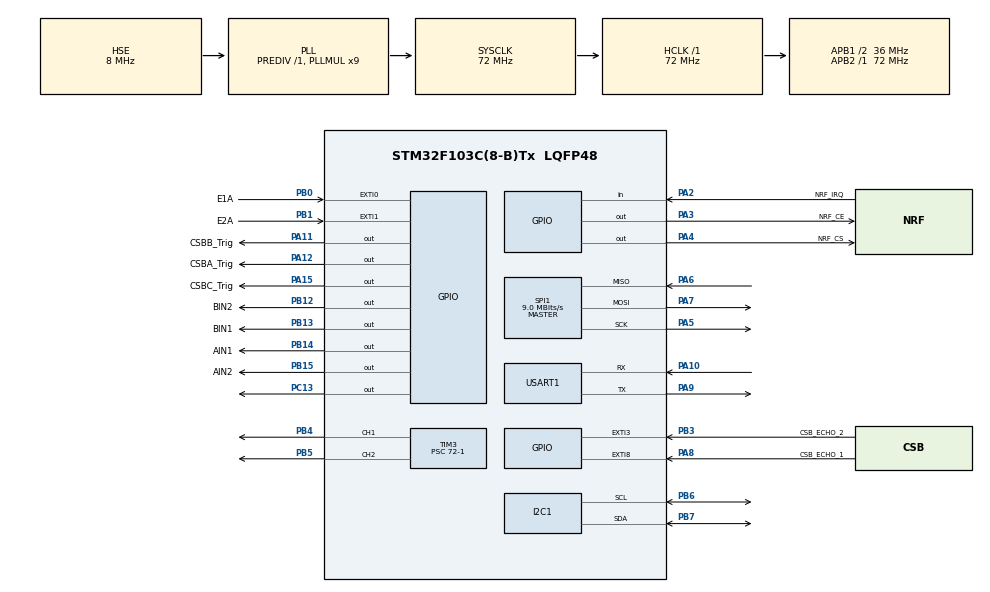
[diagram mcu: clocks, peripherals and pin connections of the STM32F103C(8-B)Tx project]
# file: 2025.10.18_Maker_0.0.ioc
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I2C1.I2C_Mode=I2C_Fast
Mcu.Family=STM32F1
Mcu.Name=STM32F103C(8-B)Tx
Mcu.Package=LQFP48
NVIC.EXTI0_IRQn=true\:0\:0\:false\:false\:true\:true\:true\:true
NVIC.EXTI1_IRQn=true\:0\:0\:false\:false\:true\:true\:true\:true
NVIC.EXTI3_IRQn=true\:0\:0\:false\:false\:true\:true\:true\:true
NVIC.EXTI9_5_IRQn=true\:0\:0\:false\:false\:true\:true\:true\:true
NVIC.PriorityGroup=NVIC_PRIORITYGROUP_4
NVIC.TIM3_IRQn=true\:0\:0\:false\:false\:true\:true\:true\:true
NVIC.USART1_IRQn=true\:0\:0\:false\:false\:true\:true\:true\:true
PA10.Mode=Asynchronous
PA10.Signal=USART1_RX
PA11.GPIO_Label=CSBB_Trig
PA11.Signal=GPIO_Output
PA12.GPIO_Label=CSBA_Trig
PA12.Signal=GPIO_Output
PA13.Mode=Serial_Wire
PA13.Signal=SYS_JTMS-SWDIO
PA14.Mode=Serial_Wire
PA14.Signal=SYS_JTCK-SWCLK
PA15.GPIO_Label=CSBC_Trig
PA15.Signal=GPIO_Output
PA2.GPIO_Label=NRF_IRQ
PA2.GPIO_PuPd=GPIO_PULLUP
PA2.Signal=GPIO_Input
PA3.GPIO_Label=NRF_CE
PA3.GPIO_PuPd=GPIO_PULLUP
PA3.GPIO_Speed=GPIO_SPEED_FREQ_HIGH
PA3.Signal=GPIO_Output
PA4.GPIO_Label=NRF_CS
PA4.GPIO_PuPd=GPIO_PULLUP
PA4.GPIO_Speed=GPIO_SPEED_FREQ_HIGH
PA4.Signal=GPIO_Output
PA5.Mode=Full_Duplex_Master
PA5.Signal=SPI1_SCK
PA6.Mode=Full_Duplex_Master
PA6.Signal=SPI1_MISO
PA7.Mode=Full_Duplex_Master
PA7.Signal=SPI1_MOSI
PA8.GPIO_Label=CSB_ECHO_1
PA8.GPIO_ModeDefaultEXTI=GPIO_MODE_IT_RISING
PA8.GPIO_PuPd=GPIO_PULLDOWN
PA8.Signal=GPXTI8
PA9.Mode=Asynchronous
PA9.Signal=USART1_TX
PB0.GPIO_Label=E1A
PB0.GPIO_ModeDefaultEXTI=GPIO_MODE_IT_RISING
PB0.GPIO_PuPd=GPIO_PULLDOWN
PB0.Signal=GPXTI0
PB1.GPIO_Label=E2A
PB1.GPIO_PuPd=GPIO_PULLDOWN
PB1.Signal=GPXTI1
PB12.GPIO_Label=BIN2
PB12.Signal=GPIO_Output
PB13.GPIO_Label=BIN1
PB13.Signal=GPIO_Output
PB14.GPIO_Label=AIN1
PB14.Signal=GPIO_Output
PB15.GPIO_Label=AIN2
PB15.Signal=GPIO_Output
PB3.GPIO_Label=CSB_ECHO_2
PB3.GPIO_ModeDefaultEXTI=GPIO_MODE_IT_FALLING
PB3.Signal=GPXTI3
PB4.Signal=S_TIM3_CH1
PB5.Signal=S_TIM3_CH2
PB6.Mode=I2C
PB6.Signal=I2C1_SCL
PB7.Mode=I2C
PB7.Signal=I2C1_SDA
PC13-TAMPER-RTC.Signal=GPIO_Output
PC14-OSC32_IN.Mode=LSE-External-Oscillator
PC14-OSC32_IN.Signal=RCC_OSC32_IN
PC15-OSC32_OUT.Mode=LSE-External-Oscillator
PC15-OSC32_OUT.Signal=RCC_OSC32_OUT
PD0-OSC_IN.Mode=HSE-External-Oscillator
PD0-OSC_IN.Signal=RCC_OSC_IN
PD1-OSC_OUT.Mode=HSE-External-Oscillator
PD1-OSC_OUT.Signal=RCC_OSC_OUT
ProjectManager.HeapSize=0x200
ProjectManager.StackSize=0x400
ProjectManager.TargetToolchain=CMake
RCC.AHBFreq_Value=72000000
RCC.APB1CLKDivider=RCC_HCLK_DIV2
RCC.APB1Freq_Value=36000000
RCC.APB1TimFreq_Value=72000000
RCC.APB2Freq_Value=72000000
RCC.APB2TimFreq_Value=72000000
RCC.HCLKFreq_Value=72000000
RCC.PLLMUL=RCC_PLL_MUL9
RCC.PLLSourceVirtual=RCC_PLLSOURCE_HSE
RCC.SYSCLKFreq_VALUE=72000000
RCC.SYSCLKSource=RCC_SYSCLKSOURCE_PLLCLK
RCC.USBFreq_Value=72000000
SH.S_TIM3_CH1.0=TIM3_CH1,PWM Generation1 CH1
SH.S_TIM3_CH2.0=TIM3_CH2,PWM Generation2 CH2
SPI1.BaudRatePrescaler=SPI_BAUDRATEPRESCALER_8
SPI1.CalculateBaudRate=9.0 MBits/s
SPI1.Direction=SPI_DIRECTION_2LINES
SPI1.Mode=SPI_MODE_MASTER
SPI1.VirtualType=VM_MASTER
TIM2.Period=65535
TIM2.Prescaler=7200-1
TIM3.Channel-PWM\ Generation1\ CH1=TIM_CHANNEL_1
TIM3.Channel-PWM\ Generation2\ CH2=TIM_CHANNEL_2
TIM3.Period=1000-1
TIM3.Prescaler=72-1
USART1.VirtualMode=VM_ASYNC
VP_TIM1_VS_ClockSourceINT.Mode=Internal
VP_TIM2_VS_ClockSourceINT.Mode=Internal
VP_TIM3_VS_ClockSourceINT.Mode=Internal
board=custom

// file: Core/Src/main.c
/* USER CODE BEGIN Header */
/**
 ******************************************************************************
 * @file           : main.c
 * @brief          : Main program body
 ******************************************************************************
 * @attention
 *
 * Copyright (c) 2025 STMicroelectronics.
 * All rights reserved.
 *
 * This software is licensed under terms that can be found in the LICENSE file
 * in the root directory of this software component.
 * If no LICENSE file comes with this software, it is provided AS-IS.
 *
 ******************************************************************************
 未完善的部分 电机转动方向
 */
/* USER CODE END Header */
#include "main.h"
#include "font.h"
#include "i2c.h"
#include "spi.h"
#include "tim.h"
#include "usart.h"
#include "gpio.h"

/* USER CODE BEGIN Includes */
#include <stdint.h>
#include <string.h>
#include <stdio.h>
#include <stdlib.h>
#include <stdbool.h>
#include <sys/_intsup.h>

#include "oled.h"
#include "NRF24L01.h"
#include <inttypes.h>// 豆包来的PRId32 等宏定义
/* USER CODE END Includes */

/* USER CODE BEGIN PV */

void CSB_while_Delay(void);// 超声波测距延时函数

#define CSB_MIN_Dat 60  // 超声波跟随状态最小距离(cm)
#define CSB_MIN_MIN_Dat 35 // 超声波短距离跟随状态最小距离(cm)

// 电机 PID 参数
#define Motor_KP 3
#define Motor_KI 0
#define Motor_KD 0

//K230跟随模式参数---------------------------------------------------------
#define screenCenterX 320//屏幕中心x 坐标
#define screenCenterY 240//屏幕中心y 坐标
#define maxUnresponsiveCoordDiff 80//最大无响应坐标差值
#define targetSpeedValue 200 // 目标速度值
#define turnSpeedDiffCoeff 1 // 转弯时速度差值系数

//#define slowdownValueWhenNoPersonDetected 100 // 未检测到人时减速值
#define circlingSpeed 100 // 原地转圈速度差值

//无线遥控模式参数---------------------------------------------------------
#define N_targetSpeedValue 200 // 目标速度值
#define N_turnSpeedDiff 75 // 转弯时速度差

uint8_t NRF_MODS = 0;//无线遥控模式 0 停止,1遥控跟随,2摄像头跟随
unsigned int Joystick__XDat = 0;
unsigned int Joystick__YDat = 0;

/* CSB CODE Start */

char CSB_MOS;                // 哪个超声波正在工作 1：A, 2：B, 3: C,

unsigned int CSB_Time_ms_Start;// 超声波计时开始
unsigned int CSB_Time_ms_End;// 超声波计时开始

unsigned int CSB_A_Time_Dat; // 超声波计时间数据
unsigned int CSB_B_Time_Dat; // 超声波计时间数据
unsigned int CSB_C_Time_Dat; // 超声波计时间数据

unsigned int CSB_A_Dis_Dat; // 超声波距离数据 单位 cm

/* CSB CODE END */

/* Encoder CODE Start */
unsigned int Encoder_Start_Time;
unsigned int Encoder_1;     // 编码器1计数
unsigned int Encoder_2;     // 编码器2计数
unsigned int Encoder_1_Dat; // 编码器1计数,20ms刷新一次
unsigned int Encoder_2_Dat; // 编码器2计数,20ms刷新一次
/* Encoder CODE END */

unsigned int Time_1ms; // 毫秒计时器
uint32_t Time_1s; // 秒计时器 溢出需要 1193046.47 小时

unsigned int Delay_Time_ms_Start;//延时计算开始时间
unsigned int Delay_Time_s_Start;//延时计算开始时间
unsigned int Delay_Time_ms_End;//延时计算结束时间

unsigned int Delay_Time_ms_Start;//延时计算开始时间
unsigned int Delay_Time_s_Start;//延时计算开始时间

unsigned int Tim2_Time_Start;//开始时间
unsigned int Tim2_Time_End;//结束时间

bool follow_flag = 0; // 跟随标志位 =1 时开始跟随
bool Short_follow_flagshort = 0;// 短距离跟随标志位 =1 时开始短距离跟随
bool neverDetectedHuman_flag = 1; // 从未检测到人 标志位
unsigned int notRecognized_Start_Time_1s = 0; // 未识别到人计时开始时间

uint8_t	Receive[17]; //NRF24L01接收的内容
uint16_t NRF24L01_Dat; //NRF24L01接收的数据（直接转换为整数）

//UART参数---------------------------------------------------------
#define RX_BUF_SIZE 128 //串口接收缓冲区大小
uint8_t rx_buf[1];  // 中断接收的单字节缓冲区
uint8_t uart_rx_str[RX_BUF_SIZE] = {0};  // 拼接后的完整字符串
uint16_t uart_rx_len = 0;     // 当前接收的字符串长度

bool person = 0;// 是否检测到人

uint16_t person_NODat = 0;// 是否检测到人累积次数
#define person_NODat_MAX 20 //检测不到人的退出次数

uint16_t PWM_1,PWM_2;//PWM 监测值

unsigned int Coords_1_X = 0; // 目标1X坐标
unsigned int Coords_1_Y = 0; // 目标1Y坐标
unsigned int Coords_2_X = 0; // 目标2X坐标
unsigned int Coords_2_Y = 0; // 目标2Y坐标
unsigned int Coords_3_X = 0; // 目标3X坐标
unsigned int Coords_3_Y = 0; // 目标3Y坐标

/*UART CODE END */

/* USER CODE END PV */

void SystemClock_Config(void);

/* USER CODE BEGIN 0 */

// 电机方向驱动，未验证方向
//Motor : 电机编号 1 或 2
//Motor_MOD : 电机转动模式 1 正转 2 反转
void Motor(uint8_t Motor,uint8_t Motor_MOD)
{
  if(Motor == 1)// 电机1
  {
    if(Motor_MOD == 1)// 正转
    {
      HAL_GPIO_WritePin(AIN1_GPIO_Port, AIN1_Pin, GPIO_PIN_SET);
      HAL_GPIO_WritePin(AIN2_GPIO_Port, AIN2_Pin, GPIO_PIN_RESET);
    }
    else if(Motor_MOD == 2)// 反转
    {
      HAL_GPIO_WritePin(AIN1_GPIO_Port, AIN1_Pin, GPIO_PIN_RESET);
      HAL_GPIO_WritePin(AIN2_GPIO_Port, AIN2_Pin, GPIO_PIN_SET);
    }
  }
  else if(Motor == 2)// 电机2
  {
    if(Motor_MOD == 1)// 正转
    {
      HAL_GPIO_WritePin(BIN1_GPIO_Port, BIN1_Pin, GPIO_PIN_RESET);
      HAL_GPIO_WritePin(BIN2_GPIO_Port, BIN2_Pin, GPIO_PIN_SET);
    }
    else if(Motor_MOD == 2)// 反转
    {
      HAL_GPIO_WritePin(BIN1_GPIO_Port, BIN1_Pin, GPIO_PIN_SET);
      HAL_GPIO_WritePin(BIN2_GPIO_Port, BIN2_Pin, GPIO_PIN_RESET);
    }
  }
}

// 电机 PWM 控制，Cycle 范围 0-1000(0为0%占空比，1000为100%占空比)
//Motor : 电机编号 1 或 2
//Cycle : 占空比 0-1000
void Motor_PWM(uint8_t Motor,int16_t Cycle)
{
  if(Cycle > 1000)
  {
    Cycle = 1000; // 限制最大值为1000
  }
  if(Cycle < 0)
  {
    Cycle = 0; // 限制最小值为0
  }
  if(Motor == 1)// 电机1
  {
    PWM_1 = Cycle;
    __HAL_TIM_SET_COMPARE(&htim3,TIM_CHANNEL_1,Cycle); // 设置占空比
  }
  else if(Motor == 2)// 电机2
  {
    PWM_2 = Cycle;
    __HAL_TIM_SET_COMPARE(&htim3,TIM_CHANNEL_2,Cycle); // 设置占空比
  }
}

// 电机 PID 控制 返回占空比值
//Target_value : 目标值
//Actual_value : 实际值
uint16_t Motor_PID(uint16_t Target_value,uint16_t Actual_value)
{
  int16_t Error;
  Error = Target_value - Actual_value;
  if(Error < 0)
  {
    Error = 0;
  }
  return Error * Motor_KP; // 简单比例控制
}

//摄像头跟随 包含了跟随到人和没跟随到人两种情况
void Motor_K230_follow(void)
{
  Motor(1,1); // 电机1正转
  Motor(2,1); // 电机2正转
  if(person == 0)//如果没有识别到人 停止
  {
    Motor_PWM(1,0); // 电机1 占空比
    Motor_PWM(2,0); // 电机2 占空比
    return;
  }
  if(CSB_A_Dis_Dat < 15)//距离过近
  {
    Motor_PWM(1,0); // 电机1 占空比
    Motor_PWM(2,0); // 电机2 占空比
    return;
  }
  if(screenCenterX < Coords_1_X )//在右侧
  {
    if((Coords_1_X - screenCenterX) < maxUnresponsiveCoordDiff)//在中心区域
    {
      Motor_PWM(1,Motor_PID(targetSpeedValue,Encoder_1_Dat)); // 电机1 占空比
      Motor_PWM(2,Motor_PID(targetSpeedValue,Encoder_2_Dat)); // 电机2 占空比
      return;
    }
  }
  else if(Coords_1_X < screenCenterX)//在左侧
  {
    if((screenCenterX - Coords_1_X) < maxUnresponsiveCoordDiff)//在中心区域
    {
      Motor_PWM(1,Motor_PID(targetSpeedValue,Encoder_1_Dat)); // 电机1 占空比
      Motor_PWM(2,Motor_PID(targetSpeedValue,Encoder_2_Dat)); // 电机2 占空比
      return;
    }
  }

  if(Coords_1_X < screenCenterX)// 目标在左侧 (screenCenterX-Coords_1_X)误差值,人离镜头中心越远值越大
  {
    //差值计算公式 = 目标速度-(误差值*系数)
    Motor_PWM(1,Motor_PID(targetSpeedValue - (screenCenterX - Coords_1_X)*turnSpeedDiffCoeff + maxUnresponsiveCoordDiff,Encoder_1_Dat)); // 电机1 占空比
    Motor_PWM(2,Motor_PID(targetSpeedValue,Encoder_2_Dat)); // 电机2 占空比
  }
  else if(screenCenterX < Coords_1_X)// 目标在右侧
  {
    Motor_PWM(1,Motor_PID(targetSpeedValue,Encoder_1_Dat)); // 电机1 占空比
    Motor_PWM(2,Motor_PID(targetSpeedValue - (Coords_1_X - screenCenterX)*turnSpeedDiffCoeff + maxUnresponsiveCoordDiff,Encoder_2_Dat)); // 电机2 占空比
  }

}

//无线遥控跟随
void Motor_NRF24L01_follow(void)
{
  //Joystick__XDat,Joystick__YDat  0 到 4095
  uint8_t Xmod,Ymod;
  if(Joystick__XDat > 4000)
  {
    Xmod = 2;//左
  }
  else if(Joystick__XDat < 20)
  {
    Xmod = 1;//右
  }
  else {
  {
    Xmod = 0;//中
  }
  }
  if(Joystick__YDat > 4000)
  {
    Ymod = 1;//下
  }
  else if(Joystick__YDat < 20)
  {
    Ymod = 2;//上
  }
  else {
  {
    Ymod = 0;//中
  }
  }
  if(Ymod == 0 && Xmod == 0)// 停止
  {
    Motor_PWM(1,0); // 电机1 占空比
    Motor_PWM(2,0); // 电机2 占空比
    return;
  }
  switch(Ymod)//设置了方向
  {
    case 2://前进
      Motor(1,1); // 电机1正转
      Motor(2,1); // 电机2正转
    break;
    case 1://后退
      Motor(1,2); // 电机1反转
      Motor(2,2); // 电机2反转
    break;
  }
  switch(Xmod)//设置了速度
  {
    case 1://左转
      if(Ymod == 0)// 停止状态下左转
      {
        Motor(1,2); // 电机1反转
        Motor(2,1); // 电机2正转
        Motor_PWM(1,Motor_PID(N_targetSpeedValue,Encoder_1_Dat)); // 电机1 占空比
        Motor_PWM(2,Motor_PID(N_targetSpeedValue,Encoder_2_Dat)); // 电机2 占空比
        return;
      }
      Motor_PWM(1,Motor_PID(N_targetSpeedValue-N_turnSpeedDiff,Encoder_1_Dat)); // 电机1 占空比
      Motor_PWM(2,Motor_PID(N_targetSpeedValue,Encoder_2_Dat)); // 电机2 占空比
    break;
    case 2://右转
      if(Ymod == 0)// 停止状态下右转
      {
        Motor(1,1); // 电机1正转
        Motor(2,2); // 电机2反转
        Motor_PWM(1,Motor_PID(N_targetSpeedValue,Encoder_1_Dat)); // 电机1 占空比
        Motor_PWM(2,Motor_PID(N_targetSpeedValue,Encoder_2_Dat)); // 电机2 占空比
        return;
      }
      Motor_PWM(1,Motor_PID(N_targetSpeedValue,Encoder_1_Dat)); // 电机1 占空比
      Motor_PWM(2,Motor_PID(N_targetSpeedValue-N_turnSpeedDiff,Encoder_2_Dat)); // 电机2 占空比
    break;
    default://直行
      Motor_PWM(1,Motor_PID(N_targetSpeedValue,Encoder_1_Dat)); // 电机1 占空比
      Motor_PWM(2,Motor_PID(N_targetSpeedValue,Encoder_2_Dat)); // 电机2 占空比
    break;
  }
}
//原地转圈
void Motor_turnInPlace(void)
{
  if(screenCenterX - Coords_1_X < maxUnresponsiveCoordDiff ||
     Coords_1_X - screenCenterX < maxUnresponsiveCoordDiff)// 目标X坐标在屏幕中心附近
  {
    return; //不转圈
  }
  else if(screenCenterX > Coords_1_X)// 目标在右侧
  {
    Motor(1,1); // 电机1正转
    Motor(2,2); // 电机2反转
  }
  else if(screenCenterX < Coords_1_X)// 目标在左侧
  {
    Motor(1,2); // 电机1反转
    Motor(2,1); // 电机2正转
  }
  Motor_PWM(1,circlingSpeed - circlingSpeed); // 电机1 占空比
  Motor_PWM(2,circlingSpeed - circlingSpeed); // 电机2 占空比
}

//电机控制
void Motor_while(void)
{
  switch(NRF_MODS)
  {
    case 0 :
      Motor_PWM(1,0); // 电机1 占空比
      Motor_PWM(2,0); // 电机2 占空比
    break;
    case 1 ://摄像头跟随
      Motor_K230_follow(); // 执行摄像头跟随
    break;
    case 2 ://无线遥控
      Motor_NRF24L01_follow(); // 执行无线遥控跟随
    break;
  }
}

// 微秒延时函数
void Delay_us(uint32_t us)
{
  uint32_t i;
  // 循环次数 = 72 * 延时微秒数（经验值，需根据实际代码效率调整）
  uint32_t loops = 72 * us;
  for (i = 0; i < loops; i++)
  {
    __NOP(); // 空指令，消耗一个CPU周期（不同编译器可能需替换为对应空操作）
  }
}

// 超声波测距函数
void CSB_while(void)
{
  CSB_MOS = 1;
  HAL_GPIO_WritePin(CSBA_Trig_GPIO_Port, CSBA_Trig_Pin, GPIO_PIN_SET);
  Delay_us(20);
  HAL_GPIO_WritePin(CSBA_Trig_GPIO_Port, CSBA_Trig_Pin, GPIO_PIN_RESET);
}

// 编码器数据刷新函数
void Encoder_while(void)
{
  if(Time_1ms % 20 == 0) // 每20ms读取一次编码器数据
  {
    Encoder_1_Dat = Encoder_1;
    Encoder_2_Dat = Encoder_2;
    Encoder_1 = 0;
    Encoder_2 = 0;
  }
}

//OLED 显示
void OLED_while(void)
{

  char buffer_1[48],buffer_2[30],buffer_3[30],buffer_4[30],buffer_5[30],buffer_6[30];
  int OLED_MODS = 5;
  if(OLED_MODS == 1) // OLED 显示坐标
  {
   OLED_NewFrame();
   sprintf(buffer_1, "1X: %d", Coords_1_X);
   sprintf(buffer_2, "1Y: %d", Coords_1_Y);
   OLED_PrintString(1,1,buffer_1,&font16x16, OLED_COLOR_NORMAL);
   OLED_PrintString(60,1,buffer_2,&font16x16, OLED_COLOR_NORMAL);
   OLED_ShowFrame();
  }
  else if(OLED_MODS == 2)// OLED 显示串口
  {
    char buffer_5[20];
    OLED_NewFrame();
    sprintf(buffer_5, "%d", rx_buf[0]);
    OLED_PrintString(1,1,buffer_5,&font16x16, OLED_COLOR_NORMAL);
    OLED_ShowFrame();
  }
  else if(OLED_MODS == 3)// OLED 显示超声波数据超声波
  {
    OLED_NewFrame();
    sprintf(buffer_1, "A: %d", CSB_A_Time_Dat);
    sprintf(buffer_2, "B: %d", CSB_B_Time_Dat);
    sprintf(buffer_3, "C: %d", CSB_C_Time_Dat);
    sprintf(buffer_4, "CSB_MOS: %d", CSB_MOS);
    sprintf(buffer_5, "ms_Start: %d", CSB_Time_ms_Start);
    sprintf(buffer_6, "ms_End: %d",CSB_Time_ms_End);
    OLED_PrintString(1,1,buffer_1,&font16x16, OLED_COLOR_NORMAL);
    OLED_PrintString(1,20,buffer_2,&font16x16, OLED_COLOR_NORMAL);
    OLED_PrintString(1,40,buffer_3,&font16x16, OLED_COLOR_NORMAL);
    OLED_PrintString(40,1,buffer_4,&font16x16, OLED_COLOR_NORMAL);
    OLED_PrintString(40,20,buffer_5,&font16x16, OLED_COLOR_NORMAL);
    OLED_PrintString(40,40,buffer_6,&font16x16, OLED_COLOR_NORMAL);
    OLED_ShowFrame();
  }
  else if(OLED_MODS == 4)// OLED 显示
  {
    OLED_NewFrame();
    sprintf(buffer_4, "A: %d", CSB_A_Time_Dat);
    sprintf(buffer_5, "Time_End: %d", Tim2_Time_End);
    sprintf(buffer_6, "ms_End: %d",CSB_Time_ms_End);
    //OLED_PrintString(1,1,buffer_4,&font16x16, OLED_COLOR_NORMAL);
    OLED_PrintString(1,20,buffer_5,&font16x16, OLED_COLOR_NORMAL);
    //OLED_PrintString(1,40,buffer_6,&font16x16, OLED_COLOR_NORMAL);
    OLED_ShowFrame();

  }
  else if(OLED_MODS == 5)// OLED 显示
  {
    OLED_NewFrame();
    sprintf(buffer_1, "K230 X:%d Y:%d", Coords_1_X, Coords_1_Y);
    sprintf(buffer_2, "cm:%d E1:%d E2:%d",CSB_A_Dis_Dat,Encoder_1_Dat,Encoder_2_Dat);
    sprintf(buffer_3, "NRF:%d,X:%d,Y:%d",NRF_MODS,Joystick__XDat,Joystick__YDat);
    sprintf(buffer_4, "PWM1:%d,PWM2:%d",PWM_1,PWM_2);
    OLED_PrintASCIIString(1,1,buffer_1,&afont8x6, OLED_COLOR_NORMAL);
    OLED_PrintASCIIString(1,10,buffer_2,&afont8x6, OLED_COLOR_NORMAL);
    OLED_PrintASCIIString(1,20,buffer_3,&afont8x6, OLED_COLOR_NORMAL);
    OLED_PrintASCIIString(1,30,buffer_4,&afont8x6, OLED_COLOR_NORMAL);
    OLED_ShowFrame();
  }
}

//串口数据解析
void UART_Parse(void)
{
  if(rx_buf[0] == 'n')
  {
    person = 0; // 未检测到人
  }

  if(rx_buf[0] == ']' && uart_rx_len > 0)// 接收到一帧数据
  {
    person = 1; // 检测到人
    person_NODat = 0; //清空检测次数
    if(uart_rx_str[0] == '[')// 检查帧头
    {
      // 临时缓冲区用于处理字符串(将uart_rx_str 复制到 temp_buf)
      char temp_buf[RX_BUF_SIZE];
      strncpy(temp_buf, (char*)uart_rx_str, uart_rx_len);
      temp_buf[uart_rx_len] = '\0'; // 确保字符串结束符

      int count = 0;
      char *token = strtok(temp_buf + 1, "()"); // 跳过开头的'['，按()分割

      while(token != NULL && count < 3) // 最多处理3个目标
      {
        unsigned int id, x, y;
        // 解析每个目标的ID、X、Y坐标
        if(sscanf(token, "%u,%u,%u", &id, &x, &y) == 3)
        {
          switch(id)
          {
            case 1:
              Coords_1_X = x;
              Coords_1_Y = y;
              break;
            case 2:
              Coords_2_X = x;
              Coords_2_Y = y;
              break;
            case 3:
              Coords_3_X = x;
              Coords_3_Y = y;
              break;
          }
        }
        token = strtok(NULL, "()"); // 解析下一个目标
        count++;
      }
    }
    // 重置接收缓冲区
    uart_rx_len = 0;
    memset(uart_rx_str, 0, RX_BUF_SIZE);
  }
}

// NRF24L01数据解析
void ParseNRFData_while(void)
{
    // 查找第一个逗号分隔符
    char* comma1 = strchr((char*)Receive, ',');
    if (comma1 != NULL)
    {
        // 提取mod值
        *comma1 = '\0';  // 截断字符串
        NRF_MODS = (uint8_t)strtol((char*)Receive, NULL, 10);

        // 查找第二个逗号分隔符
        char* comma2 = strchr(comma1 + 1, ',');
        if (comma2 != NULL)
        {
            // 提取X值
            *comma2 = '\0';  // 截断字符串
            Joystick__XDat = (uint16_t)strtol(comma1 + 1, NULL, 10);

            // 提取Y值
            Joystick__YDat = (uint16_t)strtol(comma2 + 1, NULL, 10);
        }
    }
}

void NRF24L01_Z_Init(void)
{
  // while(NRF24L01_Check())
  // {
  //     // printf("硬件查寻不到NRF24L01无线模块,请检查接线是否错误\r\n");
  //     HAL_Delay(1000);
  // }
	NRF24L01_RX_Mode();//设置为接受模式
}

void NRF24L01_while(void)
{
  if(NRF24L01_RxPacket(Receive)==0)
    {
      Receive[16]=0;//加入字符串结束符
      NRF24L01_Dat = atoi((char*)Receive); // 将接收到的数据转换为整数
    }
}

// 外部中断 回调函数
void HAL_GPIO_EXTI_Callback(uint16_t GPIO_Pin)
{
  if (GPIO_Pin == CSB_ECHO_1_Pin) // 进入表示ECHO变高
  {
    HAL_TIM_Base_Start(&htim2); // 启动，使能计时器
  }
  else if(GPIO_Pin == CSB_ECHO_2_Pin)//进入表示ECHO变低
  {
    HAL_TIM_Base_Stop(&htim2); // 停止，禁止计时器
    Tim2_Time_End = __HAL_TIM_GET_COUNTER(&htim2); // 读取计时器的计数值 单位是100us
    CSB_A_Dis_Dat = Tim2_Time_End * 0.7; // 计算距离 cm

    __HAL_TIM_SET_COUNTER(&htim2,0); // 清零计数器，为下一次测量做准备
  }
  else if (GPIO_Pin == E1A_Pin) // 编码器A计数
  {
    Encoder_1++;
  }
  else if (GPIO_Pin == E2A_Pin) // 编码器B计数
  {
    Encoder_2++;
  }
}

// 定时器回调函数
void HAL_TIM_PeriodElapsedCallback(TIM_HandleTypeDef *htim)
{
  if (htim->Instance == TIM2) // 每一毫秒溢出一次
  {
    Time_1ms++;
    if(Time_1ms >= 1000)
    {
      Time_1s++;
      Time_1ms = 0;
    }
  }
}

//串口回调函数
void HAL_UART_RxCpltCallback(UART_HandleTypeDef *huart)
{
  if(huart->Instance == USART1)
  {
    if(uart_rx_len < RX_BUF_SIZE - 1) // 防止缓冲区溢出
    {
      uart_rx_str[uart_rx_len++] = rx_buf[0]; // 拼接接收到的字节
    }
    else
    {
      uart_rx_len = 0; // 重置长度，防止溢出
    }

    UART_Parse(); // 解析接收到的数据

    // 重新启动中断接收（持续接收下一字节）
    HAL_UART_Receive_IT(&huart1, rx_buf, 1);
  }
}

// 测试函数
void test(void)
{
  Motor(1,1); // 电机1
  Motor(2,1); // 电机2
  Motor_PWM(1,500); // 电机1 占空比
  Motor_PWM(2,500); // 电机2 占空比
}

/* USER CODE END 0 */

int main(void)
{

  /* MCU Configuration--------------------------------------------------------*/

  HAL_Init();

  /*USER CODE BEGIN Init*/

  /* USER CODE END Init */

  /* Configure the system clock */
  SystemClock_Config();

  /* Initialize all configured peripherals */
  MX_GPIO_Init();
  MX_TIM2_Init();
  MX_TIM3_Init();
  MX_USART1_UART_Init();
  MX_TIM1_Init();
  MX_I2C1_Init();
  MX_SPI1_Init();
  /* USER CODE BEGIN 2 */
  HAL_TIM_PWM_Start(&htim3,TIM_CHANNEL_1);// 启动 PWM 输出
  HAL_TIM_PWM_Start(&htim3,TIM_CHANNEL_2);// 启动 PWM 输出

  HAL_UART_Receive_IT(&huart1, rx_buf, 1);  // 第一次开启串口接受
  //告诉串口准备接收 1 个字节，收到后触发中断
  //此时串口进入 等待接收 状态，CPU 可执行其他任务（主循环）

  OLED_Init(); // OLED 初始化

  NRF24L01_Z_Init();//NRF24L01 初始化

  /* USER CODE END 2 */

  /* Infinite loop */
  while (1)
  {

    /* USER CODE BEGIN 3 */
    CSB_while(); // 超声波测距
    Encoder_while();// 编码器数据刷新函数
    NRF24L01_while();//NRF24L01 数据接收
    ParseNRFData_while();//NRF24L01 数据解析
    OLED_while();//OLED 显示
    //test();// 测试函数
    Motor_while();// 电机控制
  }
  /* USER CODE END 3 */
}

void SystemClock_Config(void)
{
  RCC_OscInitTypeDef RCC_OscInitStruct = {0};
  RCC_ClkInitTypeDef RCC_ClkInitStruct = {0};

  /** Initializes the RCC Oscillators according to the specified parameters
  * in the RCC_OscInitTypeDef structure.
  */
  RCC_OscInitStruct.OscillatorType = RCC_OSCILLATORTYPE_HSE;
  RCC_OscInitStruct.HSEState = RCC_HSE_ON;
  RCC_OscInitStruct.HSEPredivValue = RCC_HSE_PREDIV_DIV1;
  RCC_OscInitStruct.HSIState = RCC_HSI_ON;
  RCC_OscInitStruct.PLL.PLLState = RCC_PLL_ON;
  RCC_OscInitStruct.PLL.PLLSource = RCC_PLLSOURCE_HSE;
  RCC_OscInitStruct.PLL.PLLMUL = RCC_PLL_MUL9;
  if (HAL_RCC_OscConfig(&RCC_OscInitStruct) != HAL_OK)
  {
    Error_Handler();
  }

  /** Initializes the CPU, AHB and APB buses clocks
  */
  RCC_ClkInitStruct.ClockType = RCC_CLOCKTYPE_HCLK|RCC_CLOCKTYPE_SYSCLK
                              |RCC_CLOCKTYPE_PCLK1|RCC_CLOCKTYPE_PCLK2;
  RCC_ClkInitStruct.SYSCLKSource = RCC_SYSCLKSOURCE_PLLCLK;
  RCC_ClkInitStruct.AHBCLKDivider = RCC_SYSCLK_DIV1;
  RCC_ClkInitStruct.APB1CLKDivider = RCC_HCLK_DIV2;
  RCC_ClkInitStruct.APB2CLKDivider = RCC_HCLK_DIV1;

  if (HAL_RCC_ClockConfig(&RCC_ClkInitStruct, FLASH_LATENCY_2) != HAL_OK)
  {
    Error_Handler();
  }
}

void Error_Handler(void)
{
  __disable_irq();
  while (1) {
  }
}

#ifdef  USE_FULL_ASSERT
/**
  * @brief  Reports the name of the source file and the source line number
  *         where the assert_param error has occurred.
  * @param  file: pointer to the source file name
  * @param  line: assert_param error line source number
  * @retval None
  */
void assert_failed(uint8_t *file, uint32_t line)
{
  /* USER CODE BEGIN 6 */
  /* User can add his own implementation to report the file name and line
     number, ex: printf("Wrong parameters value: file %s on line %d\r\n", file,
     line) */
  /* USER CODE END 6 */
}
#endif /* USE_FULL_ASSERT */
